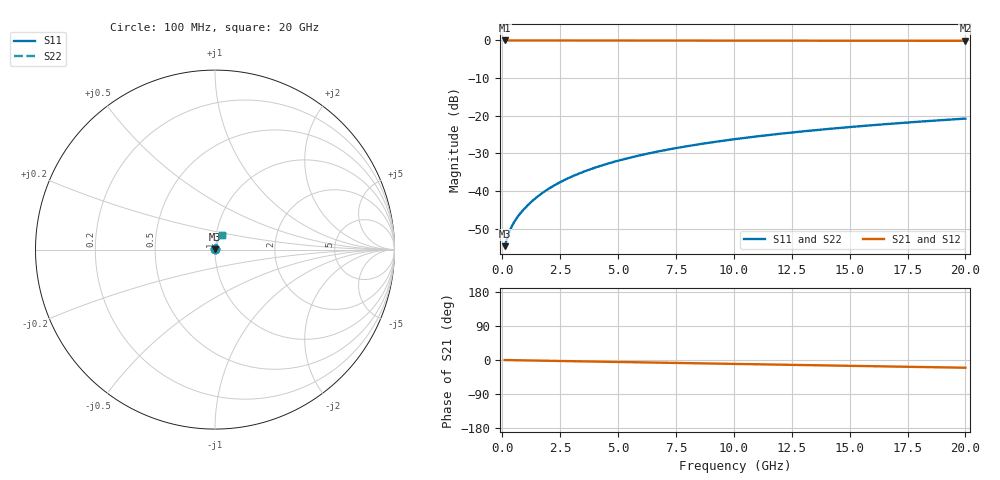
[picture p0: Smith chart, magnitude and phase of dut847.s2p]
! Touchstone file exported from HFSS 2026.1.0
!  File:  C:/ffzhzh/LocalFiles/Ansys_Project_Files/temp_train_TMRDL_847_1783156897_43440.aedt
!  Generated:  05:22:55 PM Jul  4, 2026
!  Design:  TMRDL
!  Project:  temp_train_TMRDL_847_1783156897_43440
! Variables:
!  h_bsmrdl = 2um
!  h_ox = 20um
!  h_rdl = 5um
!  h_sub = 80um
!  h_tmrdl = 2.88um
!  h_tsv = 80um
!  h_via = 3um
!  l_bsmrdl = 300um
!  l_sub = 727.47um
!  l_tmrdl = 327.47um
!  m_sub = 200um
!  pitch = 38.9um
!  r_tsv = 6um
!  s_tmrdl = 10um
!  w_bsmrdl = 18um
!  w_sub = 500um
!  w_tmrdl = 29.82um
!  x_tsv_center1 = 342.38um
!  x_tsv_center2 = 660.38um
!  x_tsv_center3 = 1017.67um
!  x_tsv_center4 = 1335.67um
!  x_tsv_center5 = 1692.96um
!  x_tsv_center6 = 2010.96um
# GHz S MA R 50.000000
! Terminal data exported
! Port[1] = TM_RDL1_1_T1
! Port[2] = TM_RDL1_1_T2
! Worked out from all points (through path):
!   200 points, 100 MHz to 20 GHz, reference 50 ohm
!   highest |S21| = -0.01 dB at 100 MHz (marker M1); lowest = -0.1 dB at 20 GHz (marker M2)
!   group delay of S21, straight-line fit = 2.83 ps
!   lowest |S11| = -54.6 dB at 100 MHz (marker M3), VSWR 1.00, Z = 50.2 + j0.0742 ohm
!   |S11| at or under -10 dB: start of sweep to end of sweep
!   |S22| runs from -54.6 to -20.8 dB; largest |S21 - S12| = 2.2e-15
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0.1  0.001852 23.5  0.9983 -0.1  0.9983 -0.1  0.001852 23.5
! Gamma 0 0 0 0
! Port Impedance 50 0 50 0
0.2  0.002319 37.6  0.9982 -0.2  0.9982 -0.2  0.002319 37.6
0.3  0.00284 45.1  0.998 -0.3  0.998 -0.3  0.00284 45.1
0.4  0.003339 49.6  0.9979 -0.4  0.9979 -0.4  0.003339 49.6
0.5  0.003809 53.0  0.9977 -0.6  0.9977 -0.6  0.00381 53.0
0.6  0.004261 55.7  0.9976 -0.7  0.9976 -0.7  0.004261 55.7
0.8  0.005143 60.1  0.9975 -0.9  0.9975 -0.9  0.005144 60.1
1  0.00603 63.6  0.9974 -1.1  0.9974 -1.1  0.006031 63.6
1.2  0.006934 66.3  0.9974 -1.3  0.9974 -1.3  0.006935 66.3
1.7  0.009261 70.9  0.9972 -1.8  0.9972 -1.8  0.009262 70.9
2.2  0.01165 73.5  0.9971 -2.3  0.9971 -2.3  0.01165 73.5
2.8  0.01456 75.3  0.9969 -2.9  0.9969 -2.9  0.01456 75.3
3.5  0.01797 76.3  0.9967 -3.7  0.9967 -3.7  0.01797 76.3
4.2  0.02138 76.7  0.9965 -4.4  0.9965 -4.4  0.02138 76.7
5  0.02525 76.7  0.9961 -5.2  0.9961 -5.2  0.02525 76.7
5.9  0.02957 76.4  0.9957 -6.1  0.9957 -6.1  0.02957 76.4
6.8  0.03385 76.0  0.9953 -7.1  0.9953 -7.1  0.03385 75.9
8.3  0.04086 74.9  0.9945 -8.6  0.9945 -8.6  0.04086 74.9
10.1  0.04909 73.5  0.9936 -10.4  0.9936 -10.4  0.0491 73.4
13.4  0.06374 70.6  0.9917 -13.8  0.9917 -13.8  0.06374 70.6
16.7  0.07788 67.7  0.9898 -17.1  0.9898 -17.1  0.07788 67.6
20  0.09155 64.7  0.9879 -20.4  0.9879 -20.4  0.09156 64.6
